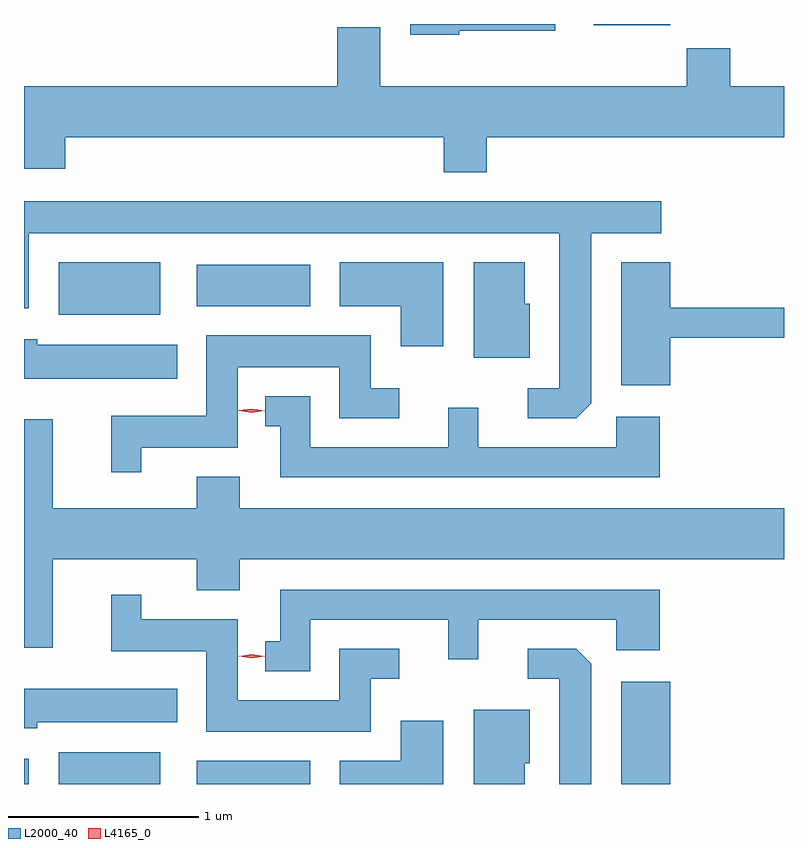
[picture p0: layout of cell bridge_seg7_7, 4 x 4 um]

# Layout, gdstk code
import gdstk
lib = gdstk.Library(unit=1e-6, precision=1e-09)
def R(c, l, rs):  # rectangles x0, y0, x1, y1
    for r in rs: c.add(gdstk.rectangle(r[:2], r[2:], *l))
def P(c, l, *ps):  # polygons
    for p in ps: c.add(gdstk.Polygon(p, *l))
L2000_40 = (2000, 40)
L4165_0 = (4165, 0)

bridge_seg7_7 = lib.new_cell('bridge_seg7_7')
R(bridge_seg7_7, L2000_40, [(1668.073,1770.852,1668.099,1770.984), (1668.256,1770.852,1668.789,1771.019), (1668.981,1770.852,1669.579,1770.974), (1671.216,1770.852,1671.474,1771.389), (1668.256,1773.321,1668.789,1773.599), (1668.981,1773.366,1669.579,1773.584), (1671.071,1774.846,1671.474,1774.852)])
P(bridge_seg7_7, L2000_40, [(1670.364,1774.816),(1670.869,1774.816),(1670.869,1774.852),(1670.106,1774.852),(1670.106,1774.796),(1670.364,1774.796)],
  [(1670.509,1774.256),(1672.073,1774.256),(1672.073,1774.524),(1671.789,1774.524),(1671.789,1774.724),(1671.561,1774.724),(1671.561,1774.524),(1669.949,1774.524),(1669.949,1774.834),(1669.721,1774.834),(1669.721,1774.524),(1668.073,1774.524),(1668.073,1774.091),(1668.289,1774.091),(1668.289,1774.256),(1670.281,1774.256),(1670.281,1774.071),(1670.509,1774.071)],
  [(1671.059,1772.857),(1671.059,1773.751),(1671.428,1773.751),(1671.428,1773.919),(1668.073,1773.919),(1668.073,1773.356),(1668.099,1773.356),(1668.099,1773.751),(1670.891,1773.751),(1670.891,1772.934),(1670.723,1772.934),(1670.723,1772.776),(1670.979,1772.776)],
  [(1671.474,1773.201),(1672.073,1773.201),(1672.073,1773.359),(1671.474,1773.359),(1671.474,1773.599),(1671.216,1773.599),(1671.216,1772.951),(1671.474,1772.951)],
  [(1670.734,1773.379),(1670.709,1773.379),(1670.709,1773.599),(1670.441,1773.599),(1670.441,1773.096),(1670.734,1773.096)],
  [(1670.279,1773.599),(1669.736,1773.599),(1669.736,1773.366),(1670.056,1773.366),(1670.056,1773.156),(1670.279,1773.156)],
  [(1668.689,1772.621),(1669.199,1772.621),(1669.199,1773.046),(1669.731,1773.046),(1669.731,1772.776),(1670.048,1772.776),(1670.048,1772.934),(1669.899,1772.934),(1669.899,1773.214),(1669.031,1773.214),(1669.031,1772.789),(1668.531,1772.789),(1668.531,1772.493),(1668.689,1772.493)],
  [(1668.879,1773.164),(1668.144,1773.164),(1668.144,1773.194),(1668.073,1773.194),(1668.073,1772.986),(1668.879,1772.986)],
  [(1671.419,1772.784),(1671.191,1772.784),(1671.191,1772.624),(1670.464,1772.624),(1670.464,1772.833),(1670.306,1772.833),(1670.306,1772.624),(1669.579,1772.624),(1669.579,1772.894),(1669.343,1772.894),(1669.343,1772.736),(1669.421,1772.736),(1669.421,1772.466),(1671.419,1772.466)],
  [(1668.224,1772.036),(1668.981,1772.036),(1668.981,1771.871),(1669.209,1771.871),(1669.209,1772.036),(1672.073,1772.036),(1672.073,1772.304),(1669.209,1772.304),(1669.209,1772.469),(1668.981,1772.469),(1668.981,1772.304),(1668.224,1772.304),(1668.224,1772.773),(1668.073,1772.773),(1668.073,1771.568),(1668.224,1771.568)],
  [(1669.579,1771.716),(1670.306,1771.716),(1670.306,1771.508),(1670.464,1771.508),(1670.464,1771.716),(1671.191,1771.716),(1671.191,1771.556),(1671.419,1771.556),(1671.419,1771.874),(1669.421,1771.874),(1669.421,1771.604),(1669.343,1771.604),(1669.343,1771.446),(1669.579,1771.446)],
  [(1669.899,1771.406),(1670.048,1771.406),(1670.048,1771.564),(1669.731,1771.564),(1669.731,1771.294),(1669.199,1771.294),(1669.199,1771.719),(1668.689,1771.719),(1668.689,1771.848),(1668.531,1771.848),(1668.531,1771.551),(1669.031,1771.551),(1669.031,1771.126),(1669.899,1771.126)],
  [(1671.059,1771.484),(1670.979,1771.564),(1670.723,1771.564),(1670.723,1771.406),(1670.891,1771.406),(1670.891,1770.852),(1671.059,1770.852)],
  [(1668.144,1771.176),(1668.879,1771.176),(1668.879,1771.354),(1668.073,1771.354),(1668.073,1771.146),(1668.144,1771.146)],
  [(1670.709,1770.961),(1670.734,1770.961),(1670.734,1771.244),(1670.441,1771.244),(1670.441,1770.852),(1670.709,1770.852)],
  [(1670.279,1771.184),(1670.056,1771.184),(1670.056,1770.974),(1669.736,1770.974),(1669.736,1770.852),(1670.279,1770.852)])
P(bridge_seg7_7, L4165_0, [(1669.271,1772.807),(1669.202,1772.817),(1669.202,1772.817),(1669.202,1772.818),(1669.271,1772.827),(1669.341,1772.817),(1669.341,1772.817),(1669.341,1772.816)],
  [(1669.271,1771.515),(1669.202,1771.524),(1669.202,1771.524),(1669.202,1771.525),(1669.271,1771.534),(1669.341,1771.525),(1669.341,1771.525),(1669.341,1771.524)])

lib.write_gds('bridge_seg7_7.gds')
